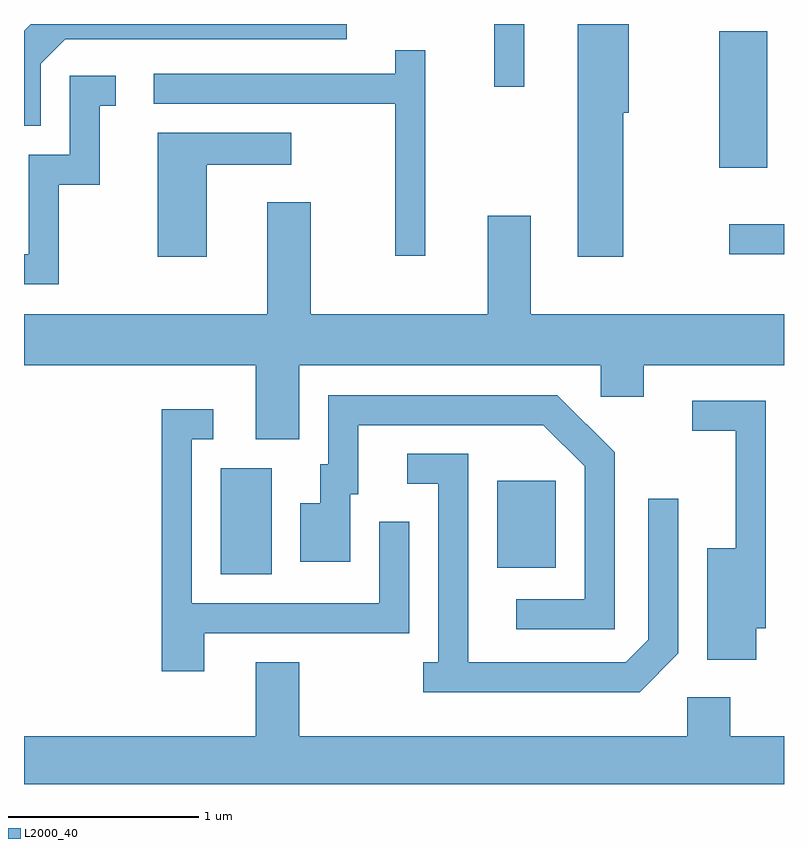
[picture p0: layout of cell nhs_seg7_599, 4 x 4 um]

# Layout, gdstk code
import gdstk
lib = gdstk.Library(unit=1e-6, precision=1e-09)
def R(c, l, rs):  # rectangles x0, y0, x1, y1
    for r in rs: c.add(gdstk.rectangle(r[:2], r[2:], *l))
def P(c, l, *ps):  # polygons
    for p in ps: c.add(gdstk.Polygon(p, *l))
L2000_40 = (2000, 40)

nhs_seg7_599 = lib.new_cell('nhs_seg7_599')
R(nhs_seg7_599, L2000_40, [(202.646,1795.356,202.914,1795.914), (204.101,1795.391,204.409,1795.849), (205.323,1797.041,205.611,1797.199), (205.271,1797.496,205.524,1798.214), (204.086,1797.923,204.244,1798.252)])
P(nhs_seg7_599, L2000_40, [(204.764,1797.786),(204.794,1797.786),(204.794,1798.252),(204.526,1798.252),(204.526,1797.026),(204.764,1797.026)],
  [(201.699,1798.044),(201.827,1798.171),(203.309,1798.171),(203.309,1798.252),(201.647,1798.252),(201.611,1798.217),(201.611,1797.716),(201.699,1797.716)],
  [(203.724,1798.113),(203.566,1798.113),(203.566,1797.989),(202.293,1797.989),(202.293,1797.831),(203.566,1797.831),(203.566,1797.033),(203.724,1797.033)],
  [(201.794,1797.406),(202.009,1797.406),(202.009,1797.821),(202.093,1797.821),(202.093,1797.979),(201.851,1797.979),(201.851,1797.564),(201.636,1797.564),(201.636,1797.039),(201.611,1797.039),(201.611,1796.881),(201.794,1796.881)],
  [(202.574,1797.511),(203.018,1797.511),(203.018,1797.679),(202.316,1797.679),(202.316,1797.026),(202.574,1797.026)],
  [(203.059,1796.456),(204.646,1796.456),(204.646,1796.291),(204.874,1796.291),(204.874,1796.456),(205.611,1796.456),(205.611,1796.724),(204.279,1796.724),(204.279,1797.244),(204.051,1797.244),(204.051,1796.724),(203.119,1796.724),(203.119,1797.314),(202.891,1797.314),(202.891,1796.724),(201.611,1796.724),(201.611,1796.456),(202.831,1796.456),(202.831,1796.066),(203.059,1796.066)],
  [(204.719,1795.997),(204.417,1796.299),(203.211,1796.299),(203.211,1795.934),(203.171,1795.934),(203.171,1795.729),(203.066,1795.729),(203.066,1795.421),(203.329,1795.421),(203.329,1795.776),(203.369,1795.776),(203.369,1796.141),(204.344,1796.141),(204.561,1795.924),(204.561,1795.224),(204.203,1795.224),(204.203,1795.066),(204.719,1795.066)],
  [(205.464,1795.071),(205.514,1795.071),(205.514,1796.269),(205.128,1796.269),(205.128,1796.111),(205.356,1796.111),(205.356,1795.494),(205.206,1795.494),(205.206,1794.906),(205.464,1794.906)],
  [(202.559,1795.046),(203.639,1795.046),(203.639,1795.633),(203.481,1795.633),(203.481,1795.204),(202.494,1795.204),(202.494,1796.066),(202.608,1796.066),(202.608,1796.224),(202.336,1796.224),(202.336,1794.846),(202.559,1794.846)],
  [(205.054,1794.939),(205.054,1795.753),(204.896,1795.753),(204.896,1795.012),(204.779,1794.894),(203.949,1794.894),(203.949,1795.989),(203.628,1795.989),(203.628,1795.831),(203.791,1795.831),(203.791,1794.894),(203.713,1794.894),(203.713,1794.736),(204.852,1794.736)],
  [(205.611,1794.504),(205.329,1794.504),(205.329,1794.709),(205.101,1794.709),(205.101,1794.504),(203.059,1794.504),(203.059,1794.894),(202.831,1794.894),(202.831,1794.504),(201.611,1794.504),(201.611,1794.252),(205.611,1794.252)])

lib.write_gds('nhs_seg7_599.gds')
